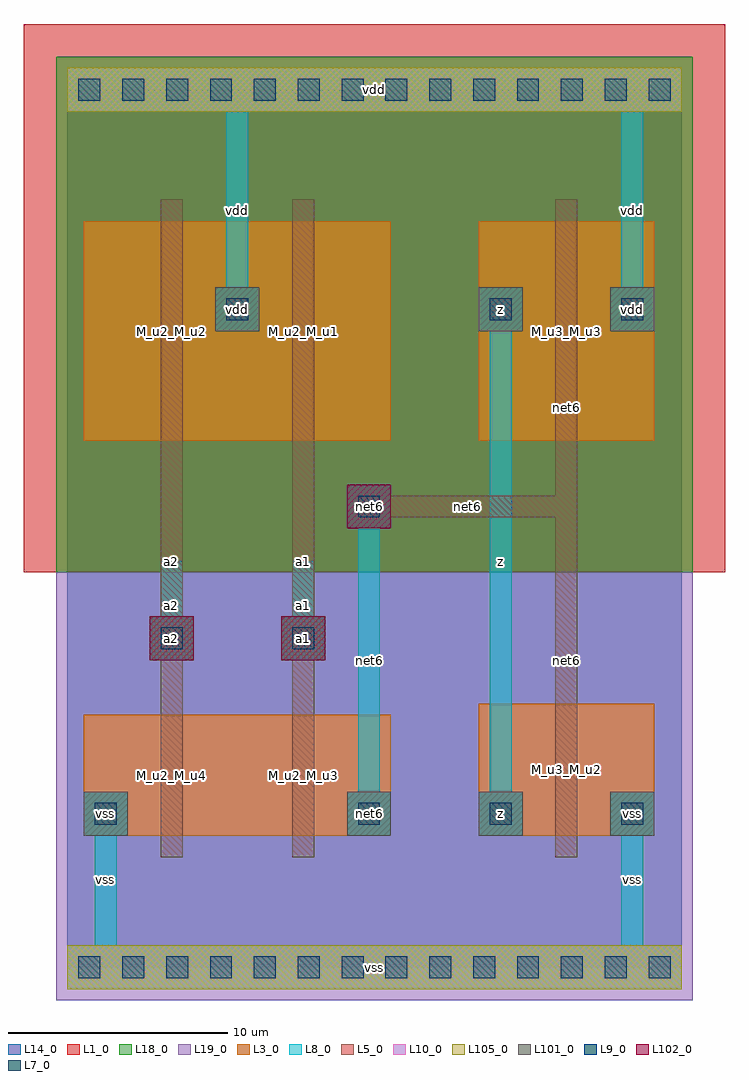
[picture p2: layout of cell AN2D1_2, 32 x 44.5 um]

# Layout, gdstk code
import gdstk
lib = gdstk.Library(unit=1e-6, precision=2.5e-07)
def R(c, l, rs):  # rectangles x0, y0, x1, y1
    for r in rs: c.add(gdstk.rectangle(r[:2], r[2:], *l))
def A(c, l, x, y, w, h, nx, ny, dx, dy):  # array of equal rectangles
    R(c, l, [(x+i*dx, y+j*dy, x+i*dx+w, y+j*dy+h) for i in range(nx) for j in range(ny)])
L1_0 = (1, 0)
L3_0 = (3, 0)
L5_0 = (5, 0)
L7_0 = (7, 0)
L8_0 = (8, 0)
L9_0 = (9, 0)
L10_0 = (10, 0)
L13_0 = (13, 0)
L14_0 = (14, 0)
L18_0 = (18, 0)
L19_0 = (19, 0)
L101_0 = (101, 0)
L102_0 = (102, 0)
L105_0 = (105, 0)

an2d1_2 = lib.new_cell('AN2D1_2')
R(an2d1_2, L1_0, [(-2,18,30,43)])
A(an2d1_2, L3_0, 12.75, 6, 2, 2, 3, 1, 6, 0)
R(an2d1_2, L3_0, [(0.75,6,8.75,11.5), (0.75,6,2.75,8), (6.75,6,14.75,11.5), (18.75,6,26.75,12), (0.75,24,8.75,34), (6.75,24,14.75,34), (18.75,24,26.75,34), (6.75,29,8.75,31), (18.75,29,20.75,31), (24.75,29,26.75,31)])
R(an2d1_2, L5_0, [(4.25,5,5.25,12.5), (10.25,5,11.25,12.5), (22.25,5,23.25,13), (4.25,6.5,5.25,30.5), (10.25,6.5,11.25,30.5), (22.25,6.5,23.25,21.5), (3.75,14,5.75,16), (9.75,14,11.75,16), (12.75,20,14.75,22), (13.25,20.5,23.25,21.5), (22.25,20.5,23.25,30.5), (4.25,23,5.25,35), (10.25,23,11.25,35), (22.25,23,23.25,35)])
A(an2d1_2, L7_0, 13.25, 6.5, 1, 1, 3, 1, 6, 0)
R(an2d1_2, L7_0, [(1.25,6.5,2.25,7.5), (4.25,14.5,5.25,15.5), (10.25,14.5,11.25,15.5), (13.25,20.5,14.25,21.5), (7.25,29.5,8.25,30.5), (19.25,29.5,20.25,30.5), (25.25,29.5,26.25,30.5)])
A(an2d1_2, L8_0, 12.75, 6, 2, 2, 3, 1, 6, 0)
R(an2d1_2, L8_0, [(0,-1,28,1), (1.25,0.5,2.25,7.5), (25.25,0.5,26.25,7.5), (0.75,6,2.75,8), (13.25,6.5,14.25,21.5), (19.25,6.5,20.25,30.5), (3.75,14,5.75,16), (9.75,14,11.75,16), (4.25,14.5,5.25,18.5), (10.25,14.5,11.25,18.5), (12.75,20,14.75,22), (6.75,29,8.75,31), (18.75,29,20.75,31), (24.75,29,26.75,31), (7.25,29.5,8.25,39.5), (25.25,29.5,26.25,39.5), (0,39,28,41)])
A(an2d1_2, L9_0, 0.5, -0.5, 1, 1, 14, 2, 2, 40)
R(an2d1_2, L10_0, [(0,-1,28,1), (0,39,28,41)])
R(an2d1_2, L14_0, [(0,0,28,40)])
R(an2d1_2, L18_0, [(-0.5,18,28.5,38.5), (-0.5,38.5,28.5,41.5)])
R(an2d1_2, L19_0, [(-0.5,-1.5,28.5,1.5), (-0.5,1.5,28.5,18)])
A(an2d1_2, L101_0, 12.75, 6, 2, 2, 3, 1, 6, 0)
R(an2d1_2, L101_0, [(0.75,6,2.75,8), (6.75,29,8.75,31), (18.75,29,20.75,31), (24.75,29,26.75,31)])
R(an2d1_2, L102_0, [(3.75,14,5.75,16), (9.75,14,11.75,16), (12.75,20,14.75,22)])
A(an2d1_2, L105_0, 0, -1, 2, 2, 14, 2, 2, 40)
an2d1_2.add(gdstk.FlexPath([(0.75,3),(26.75,3)], 0, ends="flush", simple_path=True, layer=13, datatype=0))  # L13_0
an2d1_2.add(gdstk.FlexPath([(0.75,7),(26.75,7)], 0, ends="flush", simple_path=True, layer=13, datatype=0))  # L13_0
an2d1_2.add(gdstk.FlexPath([(0.75,11),(26.75,11)], 0, ends="flush", simple_path=True, layer=13, datatype=0))  # L13_0
an2d1_2.add(gdstk.FlexPath([(0.75,15),(26.75,15)], 0, ends="flush", simple_path=True, layer=13, datatype=0))  # L13_0
an2d1_2.add(gdstk.FlexPath([(0.75,18),(26.75,18)], 0, ends="flush", simple_path=True, layer=13, datatype=0))  # L13_0
an2d1_2.add(gdstk.FlexPath([(0.75,21),(26.75,21)], 0, ends="flush", simple_path=True, layer=13, datatype=0))  # L13_0
an2d1_2.add(gdstk.FlexPath([(0.75,25),(26.75,25)], 0, ends="flush", simple_path=True, layer=13, datatype=0))  # L13_0
an2d1_2.add(gdstk.FlexPath([(0.75,30),(26.75,30)], 0, ends="flush", simple_path=True, layer=13, datatype=0))  # L13_0
an2d1_2.add(gdstk.FlexPath([(0.75,33),(26.75,33)], 0, ends="flush", simple_path=True, layer=13, datatype=0))  # L13_0
an2d1_2.add(gdstk.FlexPath([(0.75,37),(26.75,37)], 0, ends="flush", simple_path=True, layer=13, datatype=0))  # L13_0
an2d1_2.add(gdstk.FlexPath([(1.75,0.5),(1.75,39.5)], 0, ends="flush", simple_path=True, layer=13, datatype=0))  # L13_0
an2d1_2.add(gdstk.FlexPath([(4.75,0.5),(4.75,39.5)], 0, ends="flush", simple_path=True, layer=13, datatype=0))  # L13_0
an2d1_2.add(gdstk.FlexPath([(7.75,0.5),(7.75,39.5)], 0, ends="flush", simple_path=True, layer=13, datatype=0))  # L13_0
an2d1_2.add(gdstk.FlexPath([(10.75,0.5),(10.75,39.5)], 0, ends="flush", simple_path=True, layer=13, datatype=0))  # L13_0
an2d1_2.add(gdstk.FlexPath([(13.75,0.5),(13.75,39.5)], 0, ends="flush", simple_path=True, layer=13, datatype=0))  # L13_0
an2d1_2.add(gdstk.FlexPath([(16.75,0.5),(16.75,39.5)], 0, ends="flush", simple_path=True, layer=13, datatype=0))  # L13_0
an2d1_2.add(gdstk.FlexPath([(19.75,0.5),(19.75,39.5)], 0, ends="flush", simple_path=True, layer=13, datatype=0))  # L13_0
an2d1_2.add(gdstk.FlexPath([(22.75,0.5),(22.75,39.5)], 0, ends="flush", simple_path=True, layer=13, datatype=0))  # L13_0
an2d1_2.add(gdstk.FlexPath([(25.75,0.5),(25.75,39.5)], 0, ends="flush", simple_path=True, layer=13, datatype=0))  # L13_0
an2d1_2.add(gdstk.Label('M_u2_M_u3', (10.75,8.75), layer=3, texttype=0))
an2d1_2.add(gdstk.Label('M_u3_M_u2', (22.75,9), layer=3, texttype=0))
an2d1_2.add(gdstk.Label('M_u2_M_u4', (4.75,8.75), layer=3, texttype=0))
an2d1_2.add(gdstk.Label('M_u3_M_u3', (22.75,29), layer=3, texttype=0))
an2d1_2.add(gdstk.Label('M_u2_M_u2', (4.75,29), layer=3, texttype=0))
an2d1_2.add(gdstk.Label('M_u2_M_u1', (10.75,29), layer=3, texttype=0))
an2d1_2.add(gdstk.Label('net6', (13.75,7), layer=3, texttype=0))
an2d1_2.add(gdstk.Label('z', (19.75,7), layer=3, texttype=0))
an2d1_2.add(gdstk.Label('z', (19.75,30), layer=3, texttype=0))
an2d1_2.add(gdstk.Label('vss', (25.75,7), layer=3, texttype=0))
an2d1_2.add(gdstk.Label('vss', (1.75,7), layer=3, texttype=0))
an2d1_2.add(gdstk.Label('vdd', (25.75,30), layer=3, texttype=0))
an2d1_2.add(gdstk.Label('vdd', (7.75,30), layer=3, texttype=0))
an2d1_2.add(gdstk.Label('net6', (13.75,7), layer=101, texttype=0))
an2d1_2.add(gdstk.Label('z', (19.75,7), layer=101, texttype=0))
an2d1_2.add(gdstk.Label('z', (19.75,30), layer=101, texttype=0))
an2d1_2.add(gdstk.Label('vss', (25.75,7), layer=101, texttype=0))
an2d1_2.add(gdstk.Label('vss', (1.75,7), layer=101, texttype=0))
an2d1_2.add(gdstk.Label('vdd', (25.75,30), layer=101, texttype=0))
an2d1_2.add(gdstk.Label('vdd', (7.75,30), layer=101, texttype=0))
an2d1_2.add(gdstk.Label('net6', (13.75,7), layer=8, texttype=0))
an2d1_2.add(gdstk.Label('net6', (13.75,14), layer=8, texttype=0))
an2d1_2.add(gdstk.Label('net6', (13.75,21), layer=8, texttype=0))
an2d1_2.add(gdstk.Label('a1', (10.75,15), layer=8, texttype=0))
an2d1_2.add(gdstk.Label('a1', (10.75,16.5), layer=8, texttype=0))
an2d1_2.add(gdstk.Label('z', (19.75,7), layer=8, texttype=0))
an2d1_2.add(gdstk.Label('z', (19.75,30), layer=8, texttype=0))
an2d1_2.add(gdstk.Label('z', (19.75,18.5), layer=8, texttype=0))
an2d1_2.add(gdstk.Label('a2', (4.75,15), layer=8, texttype=0))
an2d1_2.add(gdstk.Label('a2', (4.75,16.5), layer=8, texttype=0))
an2d1_2.add(gdstk.Label('vss', (25.75,7), layer=8, texttype=0))
an2d1_2.add(gdstk.Label('vss', (25.75,4), layer=8, texttype=0))
an2d1_2.add(gdstk.Label('vss', (1.75,7), layer=8, texttype=0))
an2d1_2.add(gdstk.Label('vss', (1.75,4), layer=8, texttype=0))
an2d1_2.add(gdstk.Label('vdd', (25.75,30), layer=8, texttype=0))
an2d1_2.add(gdstk.Label('vdd', (25.75,34.5), layer=8, texttype=0))
an2d1_2.add(gdstk.Label('vdd', (7.75,30), layer=8, texttype=0))
an2d1_2.add(gdstk.Label('vdd', (7.75,34.5), layer=8, texttype=0))
an2d1_2.add(gdstk.Label('vss', (14,0), layer=8, texttype=0))
an2d1_2.add(gdstk.Label('vdd', (14,40), layer=8, texttype=0))
an2d1_2.add(gdstk.Label('vss', (14,0), layer=10, texttype=0))
an2d1_2.add(gdstk.Label('vdd', (14,40), layer=10, texttype=0))
an2d1_2.add(gdstk.Label('net6', (13.75,21), layer=5, texttype=0))
an2d1_2.add(gdstk.Label('net6', (18.25,21), layer=5, texttype=0))
an2d1_2.add(gdstk.Label('net6', (22.75,25.5), layer=5, texttype=0))
an2d1_2.add(gdstk.Label('net6', (22.75,14), layer=5, texttype=0))
an2d1_2.add(gdstk.Label('a1', (10.75,18.5), layer=5, texttype=0))
an2d1_2.add(gdstk.Label('a1', (10.75,15), layer=5, texttype=0))
an2d1_2.add(gdstk.Label('a2', (4.75,18.5), layer=5, texttype=0))
an2d1_2.add(gdstk.Label('a2', (4.75,15), layer=5, texttype=0))
an2d1_2.add(gdstk.Label('net6', (13.75,21), layer=102, texttype=0))
an2d1_2.add(gdstk.Label('a1', (10.75,15), layer=102, texttype=0))
an2d1_2.add(gdstk.Label('a2', (4.75,15), layer=102, texttype=0))

lib.write_gds('AN2D1_2.gds')
